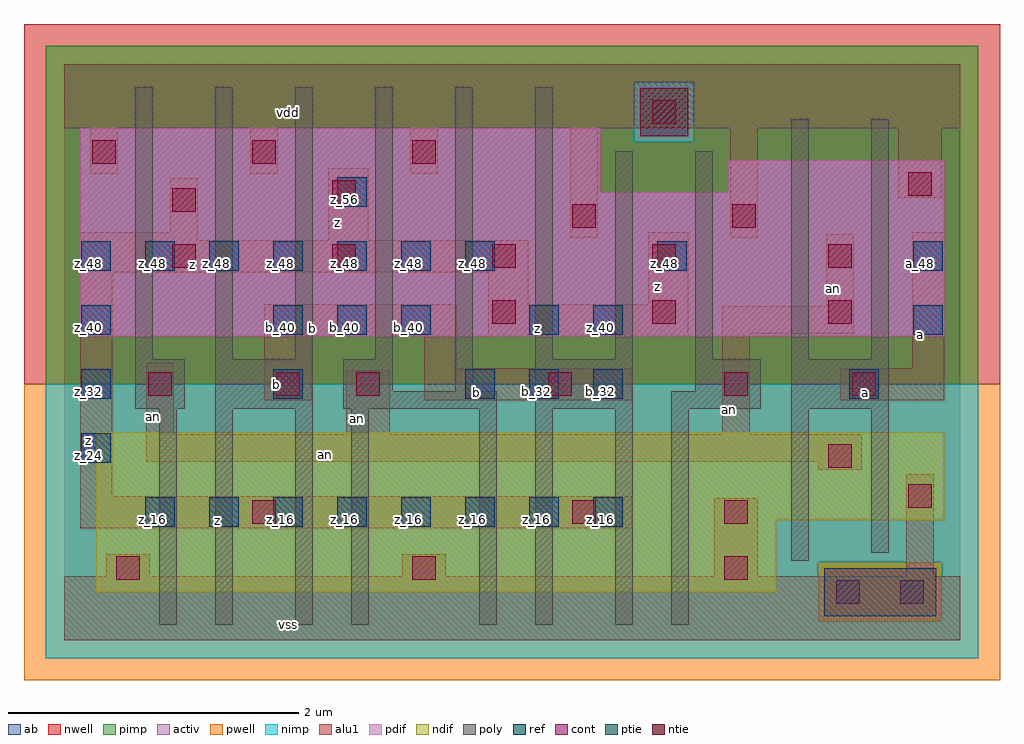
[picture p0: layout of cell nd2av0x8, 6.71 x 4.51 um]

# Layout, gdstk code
import gdstk
lib = gdstk.Library(unit=1e-6, precision=2.5e-09)
def R(c, l, rs):  # rectangles x0, y0, x1, y1
    for r in rs: c.add(gdstk.rectangle(r[:2], r[2:], *l))
def A(c, l, x, y, w, h, nx, ny, dx, dy):  # array of equal rectangles
    R(c, l, [(x+i*dx, y+j*dy, x+i*dx+w, y+j*dy+h) for i in range(nx) for j in range(ny)])
ndif = (3, 0)
pdif = (4, 0)
ntie = (5, 0)
ptie = (6, 0)
ref = (24, 0)
cont = (25, 0)
pwell = (41, 0)
nwell = (42, 0)
activ = (43, 0)
pimp = (44, 0)
nimp = (45, 0)
poly = (46, 0)
alu1 = (49, 0)
ab = (63, 0)

nd2av0x8 = lib.new_cell('nd2av0x8')
R(nd2av0x8, ndif, [(0.22,0.33,4.895,0.825), (0.22,0.825,6.05,1.43)])
R(nd2av0x8, pdif, [(0.11,2.09,6.05,3.08), (0.11,3.08,3.685,3.52), (4.565,3.08,6.05,3.3)])
R(nd2av0x8, ntie, [(3.96,3.465,4.29,3.795)])
R(nd2av0x8, ptie, [(5.225,0.165,5.995,0.495)])
A(nd2av0x8, ref, 0.56, 0.78, 0.2, 0.2, 8, 1, 0.44, 0)
A(nd2av0x8, ref, 0.12, 1.66, 0.2, 0.2, 3, 1, 1.32, 0)
A(nd2av0x8, ref, 1.44, 2.1, 0.2, 0.2, 3, 1, 0.44, 0)
A(nd2av0x8, ref, 0.12, 2.54, 0.2, 0.2, 7, 1, 0.44, 0)
R(nd2av0x8, ref, [(0.12,1.22,0.32,1.42), (3.2,1.66,3.4,1.86), (3.64,1.66,3.84,1.86), (5.4,1.66,5.6,1.86), (0.12,2.1,0.32,2.3), (3.2,2.1,3.4,2.3), (3.64,2.1,3.84,2.3), (5.84,2.1,6.04,2.3), (4.08,2.54,4.28,2.74), (5.84,2.54,6.04,2.74), (1.88,2.98,2.08,3.18)])
A(nd2av0x8, cont, 0.745, 2.56, 0.16, 0.16, 4, 1, 1.1, 0)
A(nd2av0x8, cont, 0.195, 3.275, 0.16, 0.16, 3, 1, 1.1, 0)
R(nd2av0x8, cont, [(5.31,0.25,5.47,0.41), (5.75,0.25,5.91,0.41), (0.36,0.415,0.52,0.575), (2.395,0.415,2.555,0.575), (4.54,0.415,4.7,0.575), (1.295,0.8,1.455,0.96), (3.495,0.8,3.655,0.96), (4.54,0.8,4.7,0.96), (5.805,0.91,5.965,1.07), (5.255,1.185,5.415,1.345), (0.58,1.68,0.74,1.84), (1.46,1.68,1.62,1.84), (2.01,1.68,2.17,1.84), (3.33,1.68,3.49,1.84), (4.54,1.68,4.7,1.84), (5.42,1.68,5.58,1.84), (2.945,2.175,3.105,2.335), (4.045,2.175,4.205,2.335), (5.255,2.175,5.415,2.335), (5.255,2.56,5.415,2.72), (3.495,2.835,3.655,2.995), (4.595,2.835,4.755,2.995), (0.745,2.945,0.905,3.105), (1.845,3,2.005,3.16), (5.805,3.055,5.965,3.215), (4.045,3.55,4.205,3.71)])
R(nd2av0x8, pwell, [(-0.275,-0.275,6.435,1.76)])
R(nd2av0x8, nwell, [(-0.275,1.76,6.435,4.235)])
R(nd2av0x8, activ, [(5.225,0.165,5.995,0.495), (0.22,0.33,4.895,0.825), (0.22,0.825,6.05,1.43), (0.11,2.09,6.05,3.08), (0.11,3.08,3.685,3.52), (4.565,3.08,6.05,3.3), (3.96,3.465,4.29,3.795)])
R(nd2av0x8, pimp, [(5.185,0.125,6.035,0.535), (-0.125,1.76,6.285,3.425), (-0.125,3.425,3.92,3.835), (4.33,3.425,6.285,3.835), (-0.125,3.835,6.285,4.085)])
R(nd2av0x8, nimp, [(-0.125,-0.125,6.285,0.125), (-0.125,0.125,5.185,0.535), (6.035,0.125,6.285,0.535), (-0.125,0.535,6.285,1.76), (3.92,3.425,4.33,3.835)])
A(nd2av0x8, poly, 0.49, 1.93, 0.12, 1.87, 4, 1, 0.55, 0)
R(nd2av0x8, poly, [(0.655,0.105,0.775,1.59), (1.04,0.105,1.16,1.59), (1.59,0.105,1.71,1.59), (1.975,0.105,2.095,1.59), (2.855,0.105,2.975,1.59), (3.24,0.105,3.36,1.59), (3.79,0.105,3.91,1.59), (4.175,0.105,4.295,1.59), (5,0.545,5.12,1.59), (5.55,0.6,5.67,1.59), (0.49,1.59,0.83,1.93), (1.04,1.59,1.71,1.93), (1.92,1.59,2.975,1.71), (3.24,1.59,3.91,1.93), (4.175,1.59,4.79,1.71), (5,1.59,5.67,1.93), (1.92,1.71,2.26,1.93), (2.69,1.71,2.81,3.8), (4.34,1.71,4.79,1.93), (3.24,1.93,3.36,3.8), (3.79,1.93,3.91,3.36), (4.34,1.93,4.46,3.36), (5,1.93,5.12,3.58), (5.55,1.93,5.67,3.58)])
A(nd2av0x8, alu1, 0.18, 3.205, 0.19, 0.315, 3, 1, 1.1, 0)
R(nd2av0x8, alu1, [(0,0,6.16,0.44), (0.29,0.44,0.59,0.59), (2.325,0.44,2.625,0.59), (4.47,0.44,4.77,0.975), (5.79,0.44,5.98,1.14), (0.11,0.77,3.905,0.99), (0.11,0.99,0.33,2.53), (5.185,1.17,5.485,1.225), (0.565,1.225,5.485,1.415), (0.565,1.415,0.755,1.91), (1.94,1.415,2.24,1.855), (4.525,1.415,4.715,2.105), (1.375,1.65,1.705,2.09), (2.475,1.65,3.905,1.87), (5.335,1.65,6.05,1.87), (2.475,1.87,2.695,2.09), (5.83,1.87,6.05,2.805), (1.375,2.09,2.695,2.31), (2.915,2.09,4.29,2.31), (4.525,2.105,5.43,2.295), (5.24,2.295,5.43,2.79), (2.915,2.31,3.19,2.53), (4.015,2.31,4.29,2.805), (0.11,2.53,3.19,2.75), (0.11,2.75,0.92,2.805), (1.815,2.75,2.09,3.245), (3.48,2.765,3.67,3.52), (4.58,2.765,4.77,3.52), (0.73,2.805,0.92,3.175), (5.735,3.04,6.035,3.52), (0,3.52,6.16,3.96)])
R(nd2av0x8, ab, [(0,0,6.16,3.96)])
nd2av0x8.add(gdstk.Label('vss', (1.54,0.11), layer=49, texttype=0))
nd2av0x8.add(gdstk.Label('z', (1.0575,0.825), layer=49, texttype=0))
nd2av0x8.add(gdstk.Label('an', (1.795,1.2725), layer=49, texttype=0))
nd2av0x8.add(gdstk.Label('a', (5.5125,1.705), layer=49, texttype=0))
nd2av0x8.add(gdstk.Label('a', (5.885,2.1025), layer=49, texttype=0))
nd2av0x8.add(gdstk.Label('an', (4.5725,1.5875), layer=49, texttype=0))
nd2av0x8.add(gdstk.Label('b', (2.8325,1.705), layer=49, texttype=0))
nd2av0x8.add(gdstk.Label('an', (2.015,1.525), layer=49, texttype=0))
nd2av0x8.add(gdstk.Label('b', (1.4575,1.76), layer=49, texttype=0))
nd2av0x8.add(gdstk.Label('an', (0.6125,1.5375), layer=49, texttype=0))
nd2av0x8.add(gdstk.Label('an', (5.2875,2.4175), layer=49, texttype=0))
nd2av0x8.add(gdstk.Label('z', (3.2575,2.145), layer=49, texttype=0))
nd2av0x8.add(gdstk.Label('b', (1.705,2.145), layer=49, texttype=0))
nd2av0x8.add(gdstk.Label('z', (4.0825,2.4325), layer=49, texttype=0))
nd2av0x8.add(gdstk.Label('z', (0.165,1.375), layer=49, texttype=0))
nd2av0x8.add(gdstk.Label('z', (0.88,2.585), layer=49, texttype=0))
nd2av0x8.add(gdstk.Label('z', (1.8825,2.8725), layer=49, texttype=0))
nd2av0x8.add(gdstk.Label('vdd', (1.54,3.63), layer=49, texttype=0))
nd2av0x8.add(gdstk.Label('a_32', (5.45,1.71), layer=24, texttype=0))
nd2av0x8.add(gdstk.Label('a_40', (5.89,2.15), layer=24, texttype=0))
nd2av0x8.add(gdstk.Label('a_48', (5.89,2.59), layer=24, texttype=0))
nd2av0x8.add(gdstk.Label('z_16', (0.61,0.83), layer=24, texttype=0))
nd2av0x8.add(gdstk.Label('z_48', (0.61,2.59), layer=24, texttype=0))
nd2av0x8.add(gdstk.Label('z_16', (1.05,0.83), layer=24, texttype=0))
nd2av0x8.add(gdstk.Label('z_48', (1.05,2.59), layer=24, texttype=0))
nd2av0x8.add(gdstk.Label('z_16', (1.49,0.83), layer=24, texttype=0))
nd2av0x8.add(gdstk.Label('b_32', (1.49,1.71), layer=24, texttype=0))
nd2av0x8.add(gdstk.Label('b_40', (1.49,2.15), layer=24, texttype=0))
nd2av0x8.add(gdstk.Label('z_48', (1.49,2.59), layer=24, texttype=0))
nd2av0x8.add(gdstk.Label('z_16', (1.93,0.83), layer=24, texttype=0))
nd2av0x8.add(gdstk.Label('b_40', (1.93,2.15), layer=24, texttype=0))
nd2av0x8.add(gdstk.Label('z_48', (1.93,2.59), layer=24, texttype=0))
nd2av0x8.add(gdstk.Label('z_56', (1.93,3.03), layer=24, texttype=0))
nd2av0x8.add(gdstk.Label('z_24', (0.17,1.27), layer=24, texttype=0))
nd2av0x8.add(gdstk.Label('z_32', (0.17,1.71), layer=24, texttype=0))
nd2av0x8.add(gdstk.Label('z_40', (0.17,2.15), layer=24, texttype=0))
nd2av0x8.add(gdstk.Label('z_48', (0.17,2.59), layer=24, texttype=0))
nd2av0x8.add(gdstk.Label('z_16', (2.37,0.83), layer=24, texttype=0))
nd2av0x8.add(gdstk.Label('b_40', (2.37,2.15), layer=24, texttype=0))
nd2av0x8.add(gdstk.Label('z_48', (2.37,2.59), layer=24, texttype=0))
nd2av0x8.add(gdstk.Label('z_16', (2.81,0.83), layer=24, texttype=0))
nd2av0x8.add(gdstk.Label('b_32', (2.81,1.71), layer=24, texttype=0))
nd2av0x8.add(gdstk.Label('z_48', (2.81,2.59), layer=24, texttype=0))
nd2av0x8.add(gdstk.Label('z_16', (3.25,0.83), layer=24, texttype=0))
nd2av0x8.add(gdstk.Label('b_32', (3.25,1.71), layer=24, texttype=0))
nd2av0x8.add(gdstk.Label('z_40', (3.25,2.15), layer=24, texttype=0))
nd2av0x8.add(gdstk.Label('z_16', (3.69,0.83), layer=24, texttype=0))
nd2av0x8.add(gdstk.Label('b_32', (3.69,1.71), layer=24, texttype=0))
nd2av0x8.add(gdstk.Label('z_40', (3.69,2.15), layer=24, texttype=0))
nd2av0x8.add(gdstk.Label('z_48', (4.13,2.59), layer=24, texttype=0))

lib.write_gds('nd2av0x8.gds')
